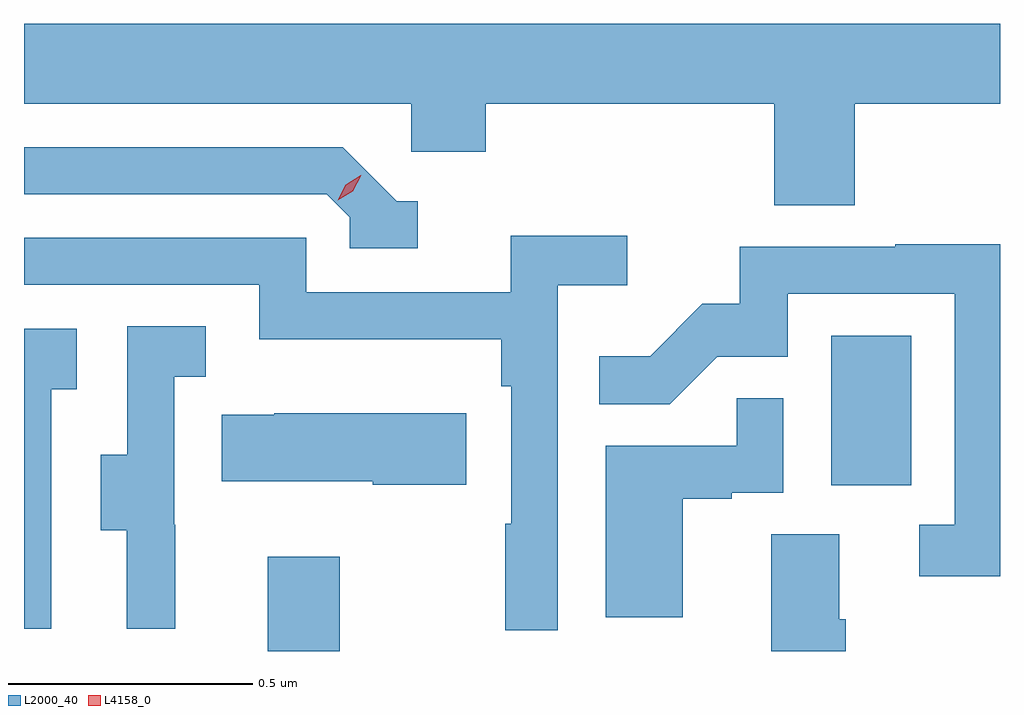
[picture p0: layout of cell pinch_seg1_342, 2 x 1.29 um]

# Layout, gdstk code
import gdstk
lib = gdstk.Library(unit=1e-6, precision=1e-09)
def R(c, l, rs):  # rectangles x0, y0, x1, y1
    for r in rs: c.add(gdstk.rectangle(r[:2], r[2:], *l))
def P(c, l, *ps):  # polygons
    for p in ps: c.add(gdstk.Polygon(p, *l))
L2000_40 = (2000, 40)
L4158_0 = (4158, 0)

pinch_seg1_342 = lib.new_cell('pinch_seg1_342')
R(pinch_seg1_342, L2000_40, [(980.945,555.938,981.093,556.132), (982.1,556.278,982.264,556.585)])
P(pinch_seg1_342, L2000_40, [(982.148,557.06),(982.446,557.06),(982.446,557.224),(980.446,557.224),(980.446,557.06),(981.24,557.06),(981.24,556.962),(981.392,556.962),(981.392,557.06),(981.983,557.06),(981.983,556.852),(982.148,556.852)],
  [(981.253,556.86),(981.21,556.86),(981.099,556.971),(980.446,556.971),(980.446,556.875),(981.066,556.875),(981.114,556.827),(981.114,556.764),(981.253,556.764)],
  [(981.54,556.688),(981.682,556.688),(981.682,556.79),(981.443,556.79),(981.443,556.674),(981.024,556.674),(981.024,556.785),(980.446,556.785),(980.446,556.689),(980.928,556.689),(980.928,556.577),(981.424,556.577),(981.424,556.481),(981.444,556.481),(981.444,556.199),(981.432,556.199),(981.432,555.981),(981.54,555.981)],
  [(982.446,556.772),(982.231,556.772),(982.231,556.767),(981.913,556.767),(981.913,556.65),(981.836,556.65),(981.729,556.543),(981.625,556.543),(981.625,556.444),(981.769,556.444),(981.867,556.542),(982.011,556.542),(982.011,556.671),(982.353,556.671),(982.353,556.197),(982.281,556.197),(982.281,556.092),(982.446,556.092)],
  [(980.756,556.197),(980.754,556.197),(980.754,556.501),(980.818,556.501),(980.818,556.604),(980.658,556.604),(980.658,556.341),(980.603,556.341),(980.603,556.186),(980.657,556.186),(980.657,555.984),(980.756,555.984)],
  [(980.502,556.475),(980.554,556.475),(980.554,556.599),(980.446,556.599),(980.446,555.984),(980.502,555.984)],
  [(981.796,556.251),(981.896,556.251),(981.896,556.263),(982.002,556.263),(982.002,556.457),(981.907,556.457),(981.907,556.359),(981.638,556.359),(981.638,556.008),(981.796,556.008)],
  [(981.352,556.426),(980.959,556.426),(980.959,556.423),(980.851,556.423),(980.851,556.286),(981.161,556.286),(981.161,556.279),(981.352,556.279)],
  [(982.13,556.004),(982.117,556.004),(982.117,556.178),(981.977,556.178),(981.977,555.938),(982.13,555.938)])
P(pinch_seg1_342, L4158_0, [(981.089,556.862),(981.089,556.862),(981.105,556.894),(981.136,556.913),(981.137,556.913),(981.137,556.913),(981.12,556.881),(981.089,556.862)])

lib.write_gds('pinch_seg1_342.gds')
